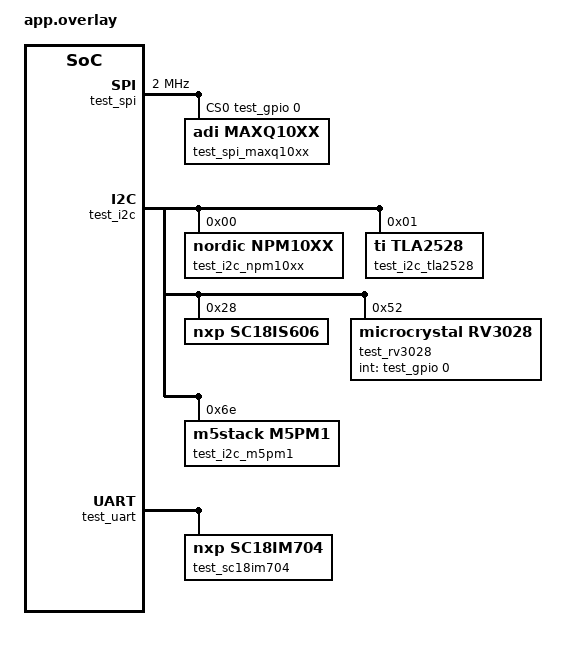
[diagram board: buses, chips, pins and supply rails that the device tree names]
/*
 * Copyright (c) 2023, Basalte bv
 *
 * SPDX-License-Identifier: Apache-2.0
 *
 * Application overlay for testing driver builds
 *
 * Names in this file should be chosen in a way that won't conflict
 * with real-world devicetree nodes, to allow these tests to run on
 * (and be extended to test) real hardware.
 */

/ {
	test {
		#address-cells = <1>;
		#size-cells = <1>;

		test_spi: spi@33334444 {
			compatible = "vnd,spi";
			reg = <0x33334444 0x1000>;
			#address-cells = <1>;
			#size-cells = <0>;
			clock-frequency = <2000000>;

			/* one entry for every spi devices */
			cs-gpios = <&test_gpio 0 0>;
			status = "okay";

			test_spi_maxq10xx@0 {
				compatible = "adi,maxq10xx";
				reg = <0x0>;
				spi-max-frequency = <0>;
				status = "okay";

				test_spi_maxq10xx_trng: trng {
					compatible = "adi,maxq10xx-trng";
					status = "okay";
				};
			};
		};

		test_i2c: i2c@33335555 {
			compatible = "vnd,i2c";
			reg = <0x33335555 0x1000>;
			#address-cells = <1>;
			#size-cells = <0>;
			status = "okay";

			test_i2c_npm10xx: pmic@0 {
				compatible = "nordic,npm10xx";
				reg = <0x0>;
			};

			test_i2c_tla2528: tla2528@1 {
				compatible = "ti,tla2528";
				reg = <0x1>;
				#io-channel-cells = <1>;
			};

			sc18is606: sc18is606@28 {
				compatible = "nxp,sc18is606";
				reg = <0x28>;
				status = "okay";

				spi_ext: sc18is606_spi {
					compatible = "nxp,sc18is606-spi";
					#address-cells = <1>;
					#size-cells = <0>;
					frequency = <1875>;
					status = "okay";
				};

				gpio_ext: sc18is606_gpio {
					compatible = "nxp,sc18is606-gpio";
					gpio-controller;
					#gpio-cells = <2>;
					ngpios = <3>;
					status = "okay";
				};
			};

			test_rv3028: rv3028@52 {
				compatible = "microcrystal,rv3028";
				reg = <0x52>;
				int-gpios = <&test_gpio 0 0>;
				backup-switch-mode = "disabled";
				status = "okay";
			};

			test_i2c_m5pm1: pmic@6e {
				compatible = "m5stack,m5pm1";
				reg = <0x6e>;
			};
		};

		test_uart: uart@55556666 {
			compatible = "vnd,serial";
			reg = <0x55556666 0x1000>;
			status = "okay";

			test_sc18im704: sc18im704 {
				compatible = "nxp,sc18im704";
				status = "okay";

				test_i2c_ext: sc18im704_i2c {
					compatible = "nxp,sc18im704-i2c";
					#address-cells = <1>;
					#size-cells = <0>;
					status = "okay";
				};

				test_gpio_ext: sc18im704_gpio {
					compatible = "nxp,sc18im704-gpio";
					gpio-controller;
					#gpio-cells = <2>;
					ngpios = <8>;
					status = "okay";
				};
			};
		};

		test_gpio: gpio@deadbeef {
			compatible = "vnd,gpio";
			reg = <0xdeadbeef 0x1000>;
			gpio-controller;
			#gpio-cells = <0x2>;
			status = "okay";
		};
	};
};
